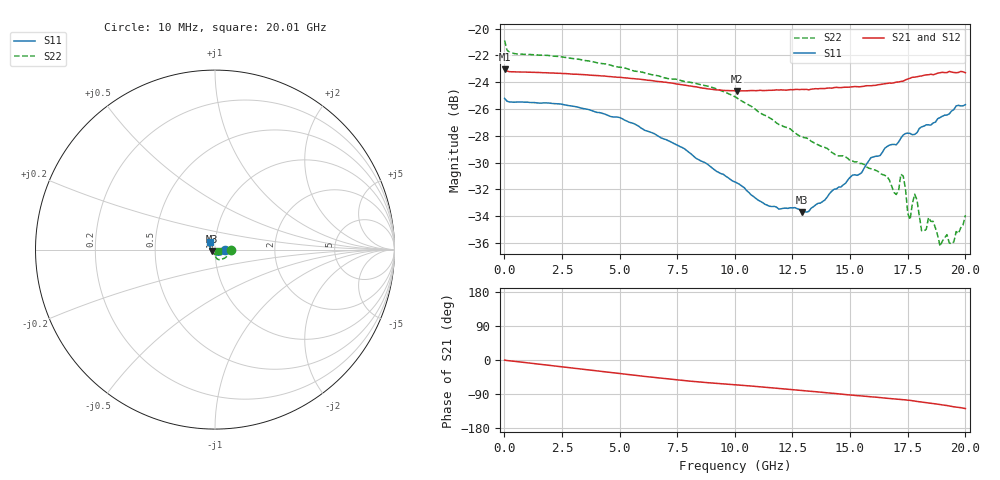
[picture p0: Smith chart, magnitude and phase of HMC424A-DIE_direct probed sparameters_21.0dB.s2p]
!s2p File: Measurements: S11, S21, S12, S22
# GHz S dB R 50.0
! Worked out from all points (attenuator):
!   201 points, 10 MHz to 20.01 GHz, reference 50 ohm
!   highest |S21| = -23.03 dB at 10 MHz (marker M1); lowest = -24.6 dB at 10.11 GHz (marker M2)
!   lowest |S11| = -33.7 dB at 12.91 GHz (marker M3), VSWR 1.04, Z = 48.2 - j0.909 ohm
!   |S11| at or under -10 dB: start of sweep to end of sweep
!   |S22| runs from -36.2 to -20.9 dB; largest |S21 - S12| = 0.00074
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0.01  -25.21 -0.2  -23.03 -0.3  -23.04 -0.4  -20.88 -1.8
0.31  -25.48 -2.4  -23.22 -2.6  -23.21 -2.6  -21.82 -4.1
3.41  -25.96 -23.7  -23.43 -24.7  -23.43 -24.7  -22.34 -28.6
6.71  -28.06 -51.2  -23.95 -47.4  -23.94 -47.4  -23.54 -52.0
10.01  -31.44 -90.6  -24.64 -65.4  -24.64 -65.3  -25.08 -74.7
10.11  -31.53 -91.9  -24.65 -65.8  -24.64 -65.8  -25.20 -75.4
11.31  -33.11 -115.6  -24.62 -71.8  -24.60 -71.8  -26.47 -80.7
12.91  -33.71 -152.8  -24.53 -80.5  -24.52 -80.5  -28.07 -83.9
13.41  -33.30 -164.7  -24.50 -83.0  -24.52 -83.0  -28.49 -84.3
16.71  -28.70 140.6  -24.06 -101.5  -24.04 -101.5  -31.30 -87.5
17.01  -28.67 139.2  -23.99 -103.2  -23.93 -103.3  -32.38 -81.5
17.21  -28.18 139.0  -23.94 -104.3  -23.89 -104.6  -30.87 -79.1
17.31  -27.94 137.4  -23.92 -104.8  -23.89 -105.1  -31.00 -86.2
17.51  -27.80 134.4  -23.76 -106.1  -23.79 -106.6  -33.80 -90.0
17.61  -27.82 132.8  -23.70 -106.5  -23.75 -107.0  -34.26 -79.5
17.81  -27.89 132.1  -23.62 -108.3  -23.64 -108.5  -32.36 -77.1
18.11  -27.33 128.8  -23.53 -110.8  -23.58 -110.6  -35.09 -79.5
18.41  -27.18 126.3  -23.44 -113.2  -23.47 -113.2  -34.10 -67.3
18.91  -26.64 126.0  -23.29 -117.6  -23.29 -117.4  -36.24 -62.3
19.21  -26.45 125.3  -23.28 -120.1  -23.26 -120.0  -35.38 -53.6
19.51  -26.04 126.2  -23.27 -123.6  -23.26 -123.4  -35.91 -40.4
20.01  -25.67 125.2  -23.29 -128.2  -23.28 -128.1  -33.93 -29.0
